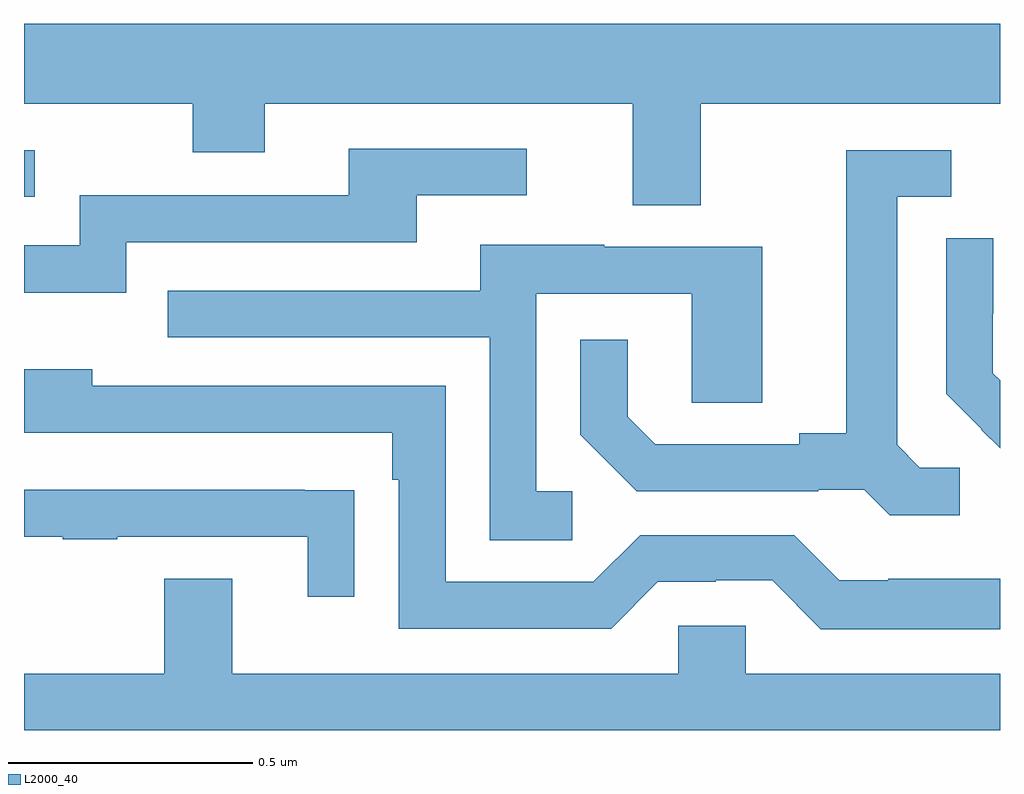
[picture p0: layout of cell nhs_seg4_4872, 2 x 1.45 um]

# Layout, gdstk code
import gdstk
lib = gdstk.Library(unit=1e-6, precision=1e-09)
def R(c, l, rs):  # rectangles x0, y0, x1, y1
    for r in rs: c.add(gdstk.rectangle(r[:2], r[2:], *l))
def P(c, l, *ps):  # polygons
    for p in ps: c.add(gdstk.Polygon(p, *l))
L2000_40 = (2000, 40)

nhs_seg4_4872 = lib.new_cell('nhs_seg4_4872')
R(nhs_seg4_4872, L2000_40, [(171,765.993,171.022,766.089)])
P(nhs_seg4_4872, L2000_40, [(172.387,766.184),(173,766.184),(173,766.348),(171,766.348),(171,766.184),(171.346,766.184),(171.346,766.085),(171.493,766.085),(171.493,766.184),(172.247,766.184),(172.247,765.976),(172.387,765.976)],
  [(171.21,765.9),(171.805,765.9),(171.805,765.996),(172.03,765.996),(172.03,766.092),(171.665,766.092),(171.665,765.996),(171.114,765.996),(171.114,765.894),(171,765.894),(171,765.797),(171.21,765.797)],
  [(172.918,765.438),(172.836,765.438),(172.789,765.485),(172.789,765.993),(172.9,765.993),(172.9,766.089),(172.685,766.089),(172.685,765.509),(172.589,765.509),(172.589,765.486),(172.294,765.486),(172.237,765.543),(172.237,765.7),(172.14,765.7),(172.14,765.506),(172.256,765.39),(172.628,765.39),(172.628,765.393),(172.722,765.393),(172.774,765.341),(172.918,765.341)],
  [(173,765.617),(172.985,765.632),(172.985,765.754),(172.986,765.754),(172.986,765.908),(172.89,765.908),(172.89,765.59),(172.963,765.517),(172.962,765.516),(173,765.478)],
  [(172.123,765.39),(172.05,765.39),(172.05,765.795),(172.368,765.795),(172.368,765.571),(172.513,765.571),(172.513,765.891),(172.189,765.891),(172.189,765.895),(171.935,765.895),(171.935,765.801),(171.295,765.801),(171.295,765.705),(171.954,765.705),(171.954,765.289),(172.123,765.289)],
  [(173,765.211),(172.771,765.211),(172.771,765.207),(172.671,765.207),(172.578,765.3),(172.263,765.3),(172.167,765.204),(171.864,765.204),(171.864,765.606),(171.14,765.606),(171.14,765.64),(171,765.64),(171,765.51),(171.755,765.51),(171.755,765.413),(171.768,765.413),(171.768,765.108),(172.203,765.108),(172.299,765.204),(172.418,765.204),(172.418,765.207),(172.533,765.207),(172.633,765.107),(173,765.107)],
  [(171.677,765.392),(171.575,765.392),(171.575,765.393),(171,765.393),(171,765.297),(171.079,765.297),(171.079,765.292),(171.191,765.292),(171.191,765.297),(171.581,765.297),(171.581,765.174),(171.677,765.174)],
  [(173,765.016),(172.479,765.016),(172.479,765.114),(172.341,765.114),(172.341,765.016),(171.427,765.016),(171.427,765.211),(171.287,765.211),(171.287,765.016),(171,765.016),(171,764.9),(173,764.9)])

lib.write_gds('nhs_seg4_4872.gds')
